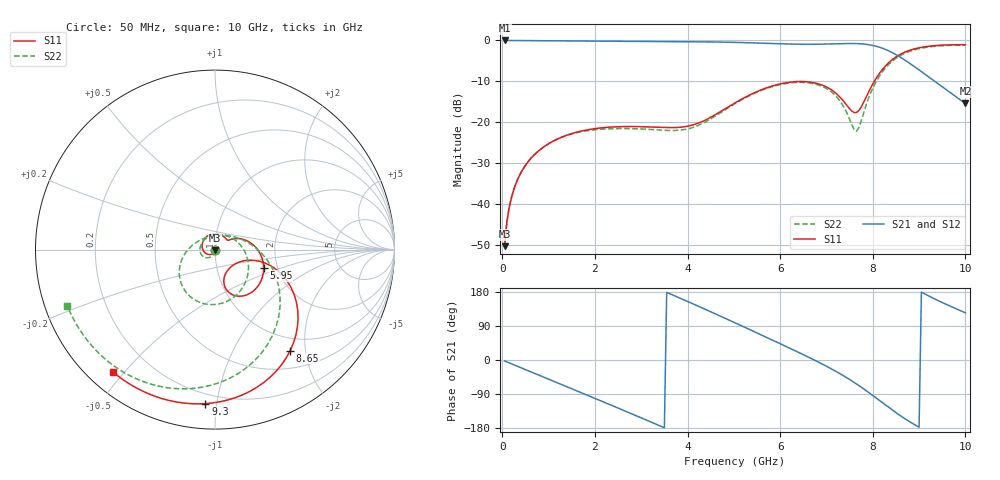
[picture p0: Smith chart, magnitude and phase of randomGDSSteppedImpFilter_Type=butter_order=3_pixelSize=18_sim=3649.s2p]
! freq	dB(S11)	phase(S11)	dB(S12)	phase(S12)
!  dB(S21)	phase(S21)	dB(S22)	phase(S22)
!S-par simulation data
#  GHz  S  DB  R 50
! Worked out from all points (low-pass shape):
!   200 points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, 50 MHz to 10 GHz, reference 50 ohm
!   highest |S21| = -0.01 dB at 50 MHz (marker M1); lowest = -15.4 dB at 10 GHz (marker M2)
!   |S21| within 3 dB of the highest: start of sweep to 8.425 GHz
!   lowest |S11| = -50.3 dB at 50 MHz (marker M3), VSWR 1.01, Z = 50 - j0.305 ohm
!   |S11| at or under -10 dB: start of sweep to 8.034 GHz
!   |S22| runs from -50.3 to -1.1 dB; largest |S21 - S12| = 0
!   S11 on the Smith chart (normalised r, x): 50 MHz: 1.00, -0.01; 5.95 GHz: 1.69, -0.38; 8.65 GHz: 0.78, -1.72; 9.3 GHz: 0.14, -0.93; 10 GHz: 0.07, -0.46
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0.05  -50.30 -87.8  -0.01 -2.6  -0.01 -2.6  -50.26 -86.3
0.1  -44.32 -93.8  -0.01 -5.1  -0.01 -5.1  -44.27 -90.9
0.2  -38.33 -101.7  -0.02 -10.2  -0.02 -10.2  -38.28 -96.0
0.5  -30.54 -122.7  -0.04 -25.3  -0.04 -25.3  -30.50 -108.0
1.15  -24.32 -166.8  -0.08 -58.2  -0.08 -58.2  -24.32 -131.7
1.75  -22.05 151.9  -0.13 -88.6  -0.13 -88.6  -22.22 -152.3
2.5  -21.10 100.1  -0.18 -126.8  -0.18 -126.8  -21.55 -177.3
3.4  -21.26 50.0  -0.25 -173.6  -0.25 -173.6  -21.91 139.3
4.15  -20.54 34.2  -0.31 146.4  -0.31 146.4  -21.15 73.6
4.6  -18.15 29.4  -0.38 121.8  -0.38 121.8  -18.49 29.7
5.05  -15.10 17.7  -0.48 96.8  -0.48 96.8  -15.30 -7.2
5.5  -12.51 0.1  -0.63 71.4  -0.63 71.4  -12.66 -38.8
5.95  -10.77 -20.6  -0.80 45.9  -0.80 45.9  -10.93 -67.9
6.7  -10.28 -56.1  -0.94 2.2  -0.94 2.2  -10.53 -116.5
7.2  -12.88 -74.5  -0.82 -29.7  -0.82 -29.7  -13.54 -157.0
7.65  -17.60 -43.0  -0.77 -63.3  -0.77 -63.3  -22.19 95.3
8  -10.66 -15.1  -1.22 -93.7  -1.22 -93.7  -11.68 -4.5
8.35  -5.39 -32.6  -2.58 -125.8  -2.58 -125.8  -5.80 -46.1
8.65  -3.08 -53.3  -4.50 -151.5  -4.50 -151.5  -3.36 -74.6
8.95  -1.92 -73.0  -6.81 -174.0  -6.81 -174.0  -2.14 -98.4
9.3  -1.31 -93.5  -9.68 163.4  -9.68 163.4  -1.48 -121.6
10  -1.04 -130.0  -15.40 124.5  -15.40 124.5  -1.11 -159.1
